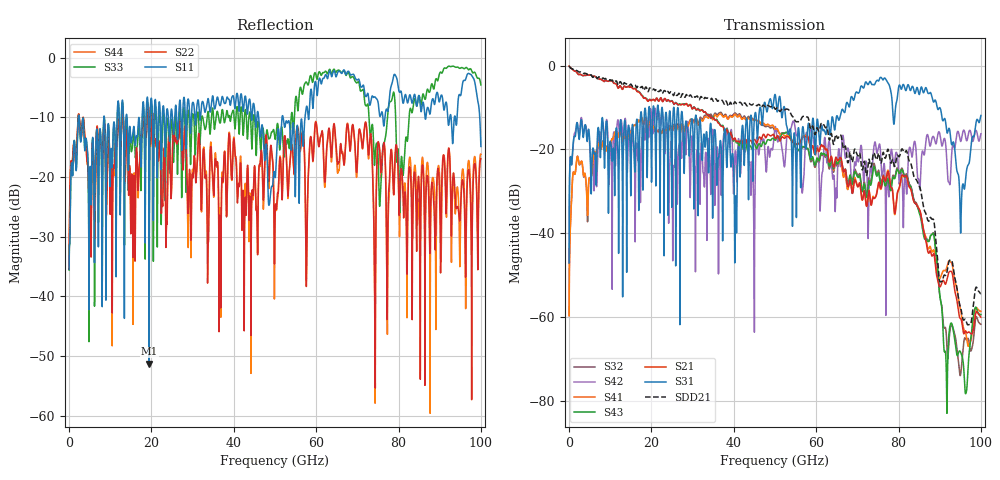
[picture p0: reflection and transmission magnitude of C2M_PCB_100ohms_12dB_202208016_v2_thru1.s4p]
! Info: Touchstone file created by Circ.  Input file=Intel_C2M_200G_2p5in_202208016_staggered.circ
# Hz S RI R 50
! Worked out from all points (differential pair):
!   10000 points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, 10 MHz to 100 GHz, reference 50 ohm
!   strongest paths, dB at 10 MHz, 25.01 GHz, 50.01 GHz, 75.01 GHz, 100 GHz:
!     S31: -47.0, -23.5, -6.9, -3.6, -11.9
!     S21: -0.1, -8.5, -17.2, -28.7, -60.0
!     S43: -0.1, -8.4, -17.8, -25.8, -59.3
!     S41: -59.6, -15.4, -15.1, -28.6, -58.6
!     S42: -47.0, -23.0, -14.6, -20.1, -16.3
!     S32: -59.6, -15.4, -15.6, -25.2, -61.7
!   taken as a pair (ports 1,3 in; 2,4 out), SDD21 dB: -0.1, -6.5, -10.4, -21.3, -54.4
!   lowest |S11| = -51.2 dB at 19.47 GHz (marker M1), VSWR 1.01, Z = 49.9 - j0.25 ohm
!   |S11| at or under -10 dB: 2.443 GHz to 8.452 GHz (6.009 GHz wide, 110 % of centre); 46.04 GHz to 51.71 GHz (5.674 GHz wide, 11.6 % of centre); 51.97 GHz to 57.3 GHz (5.33 GHz wide, 9.76 % of centre)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
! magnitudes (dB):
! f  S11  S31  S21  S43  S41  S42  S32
! 10 MHz  -35.5  -47.0  -0.1  -0.1  -59.6  -47.0  -59.6
! 2.02 GHz  -13.4  -13.8  -1.8  -1.8  -21.6  -13.9  -21.6
! 19.47 GHz  -51.2  -9.8  -8.1  -8.2  -13.4  -15.1  -13.5
! 40.41 GHz  -7.9  -31.4  -17.6  -17.8  -11.7  -20.3  -11.4
! 80.82 GHz  -6.4  -5.4  -26.1  -24.8  -26.4  -26.5  -24.4
! 91.49 GHz  -7.5  -13.9  -52.0  -69.5  -48.8  -19.1  -62.9
! 100 GHz  -14.9  -11.9  -60.0  -59.3  -58.6  -16.3  -61.7
